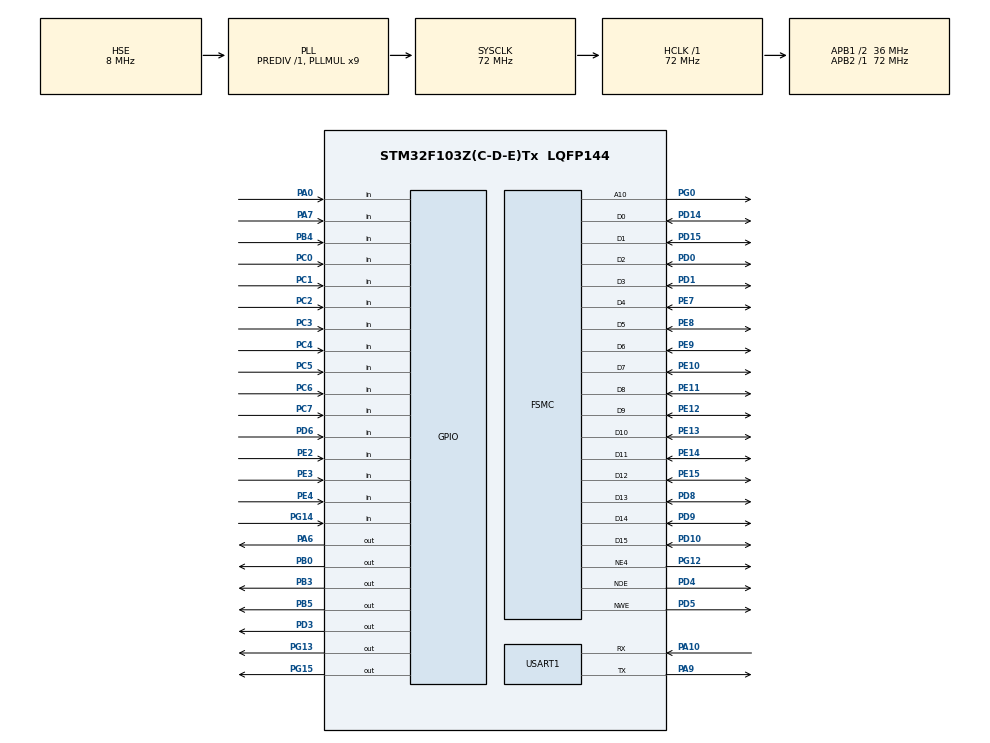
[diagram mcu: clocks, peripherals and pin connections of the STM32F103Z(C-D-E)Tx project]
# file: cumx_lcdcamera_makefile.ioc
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Dma.Request0=USART1_RX
Dma.Request1=USART1_TX
Dma.USART1_RX.0.Direction=DMA_PERIPH_TO_MEMORY
Dma.USART1_RX.0.Instance=DMA1_Channel5
Dma.USART1_RX.0.MemDataAlignment=DMA_MDATAALIGN_BYTE
Dma.USART1_RX.0.MemInc=DMA_MINC_ENABLE
Dma.USART1_RX.0.Mode=DMA_NORMAL
Dma.USART1_RX.0.PeriphDataAlignment=DMA_PDATAALIGN_BYTE
Dma.USART1_RX.0.PeriphInc=DMA_PINC_DISABLE
Dma.USART1_RX.0.Priority=DMA_PRIORITY_LOW
Dma.USART1_TX.1.Direction=DMA_MEMORY_TO_PERIPH
Dma.USART1_TX.1.Instance=DMA1_Channel4
Dma.USART1_TX.1.MemDataAlignment=DMA_MDATAALIGN_BYTE
Dma.USART1_TX.1.MemInc=DMA_MINC_ENABLE
Dma.USART1_TX.1.Mode=DMA_NORMAL
Dma.USART1_TX.1.PeriphDataAlignment=DMA_PDATAALIGN_BYTE
Dma.USART1_TX.1.PeriphInc=DMA_PINC_DISABLE
Dma.USART1_TX.1.Priority=DMA_PRIORITY_LOW
FREERTOS.BinarySemaphores01=dma_semaphore,Dynamic,NULL
FREERTOS.Tasks01=os_demorun,24,128,demorunTask,Default,NULL,Dynamic,NULL,NULL;os_supersonicTa,24,128,supersonicTask,Default,NULL,Dynamic,NULL,NULL;os_image_receiv,24,128,image_receive_start,Default,NULL,Dynamic,NULL,NULL
FSMC.AddressSetupTime1=0
FSMC.BusTurnAroundDuration1=0
FSMC.DataSetupTime1=15
FSMC.ExtendedAddressSetupTime1=0
FSMC.ExtendedBusTurnAroundDuration1=0
FSMC.ExtendedDataSetupTime1=1
FSMC.ExtendedMode1=FSMC_EXTENDED_MODE_ENABLE
Mcu.Family=STM32F1
Mcu.Name=STM32F103Z(C-D-E)Tx
Mcu.Package=LQFP144
NVIC.DMA1_Channel4_IRQn=true\:5\:0\:false\:false\:true\:true\:false\:true
NVIC.DMA1_Channel5_IRQn=true\:5\:0\:false\:false\:true\:true\:false\:true
NVIC.PriorityGroup=NVIC_PRIORITYGROUP_4
NVIC.TIM7_IRQn=true\:15\:0\:false\:false\:true\:false\:false\:true
NVIC.TimeBase=TIM7_IRQn
NVIC.TimeBaseIP=TIM7
OSC_IN.Mode=HSE-External-Oscillator
OSC_IN.Signal=RCC_OSC_IN
OSC_OUT.Mode=HSE-External-Oscillator
OSC_OUT.Signal=RCC_OSC_OUT
PA0-WKUP.GPIO_Mode=GPIO_MODE_INPUT
PA0-WKUP.GPIO_PuPd=GPIO_PULLDOWN
PA0-WKUP.Signal=GPIO_Input
PA10.Mode=Asynchronous
PA10.Signal=USART1_RX
PA6.GPIO_PuPd=GPIO_NOPULL
PA6.GPIO_Speed=GPIO_SPEED_FREQ_HIGH
PA6.Signal=GPIO_Output
PA7.GPIO_PuPd=GPIO_NOPULL
PA7.Signal=GPIO_Input
PA9.Mode=Asynchronous
PA9.Signal=USART1_TX
PB0.GPIO_PuPd=GPIO_PULLUP
PB0.GPIO_Speed=GPIO_SPEED_FREQ_HIGH
PB0.PinState=GPIO_PIN_RESET
PB0.Signal=GPIO_Output
PB3.GPIO_PuPd=GPIO_PULLUP
PB3.GPIO_Speed=GPIO_SPEED_FREQ_HIGH
PB3.Signal=GPIO_Output
PB4.GPIO_PuPd=GPIO_PULLUP
PB4.Signal=GPIO_Input
PB5.GPIO_PuPd=GPIO_PULLUP
PB5.GPIO_Speed=GPIO_SPEED_FREQ_HIGH
PB5.PinState=GPIO_PIN_RESET
PB5.Signal=GPIO_Output
PC0.GPIO_PuPd=GPIO_PULLUP
PC0.Signal=GPIO_Input
PC1.GPIO_PuPd=GPIO_PULLUP
PC1.Signal=GPIO_Input
PC14-OSC32_IN.Mode=LSE-External-Oscillator
PC14-OSC32_IN.Signal=RCC_OSC32_IN
PC15-OSC32_OUT.Mode=LSE-External-Oscillator
PC15-OSC32_OUT.Signal=RCC_OSC32_OUT
PC2.GPIO_PuPd=GPIO_PULLUP
PC2.Signal=GPIO_Input
PC3.GPIO_Mode=GPIO_MODE_INPUT
PC3.GPIO_PuPd=GPIO_PULLUP
PC3.Signal=GPIO_Input
PC4.GPIO_PuPd=GPIO_PULLUP
PC4.Signal=GPIO_Input
PC5.GPIO_PuPd=GPIO_PULLUP
PC5.Signal=GPIO_Input
PC6.GPIO_PuPd=GPIO_PULLUP
PC6.Signal=GPIO_Input
PC7.GPIO_PuPd=GPIO_PULLUP
PC7.Signal=GPIO_Input
PD0.Signal=FSMC_D2_DA2
PD1.Signal=FSMC_D3_DA3
PD10.Signal=FSMC_D15_DA15
PD14.Signal=FSMC_D0_DA0
PD15.Signal=FSMC_D1_DA1
PD3.GPIO_PuPd=GPIO_PULLUP
PD3.GPIO_Speed=GPIO_SPEED_FREQ_HIGH
PD3.Signal=GPIO_Output
PD4.Signal=FSMC_NOE
PD5.Signal=FSMC_NWE
PD6.GPIO_PuPd=GPIO_PULLUP
PD6.Signal=GPIO_Input
PD8.Signal=FSMC_D13_DA13
PD9.Signal=FSMC_D14_DA14
PE10.Signal=FSMC_D7_DA7
PE11.Signal=FSMC_D8_DA8
PE12.Signal=FSMC_D9_DA9
PE13.Signal=FSMC_D10_DA10
PE14.Signal=FSMC_D11_DA11
PE15.Signal=FSMC_D12_DA12
PE2.GPIO_PuPd=GPIO_PULLUP
PE2.Signal=GPIO_Input
PE3.GPIO_PuPd=GPIO_PULLUP
PE3.Signal=GPIO_Input
PE4.GPIO_Mode=GPIO_MODE_INPUT
PE4.GPIO_PuPd=GPIO_PULLUP
PE4.Signal=GPIO_Input
PE7.Signal=FSMC_D4_DA4
PE8.Signal=FSMC_D5_DA5
PE9.Signal=FSMC_D6_DA6
PG0.Signal=FSMC_A10
PG12.Mode=NorPsramChipSelect4_1
PG12.Signal=FSMC_NE4
PG13.GPIO_ModeDefaultOutputPP=GPIO_MODE_OUTPUT_PP
PG13.GPIO_PuPd=GPIO_PULLUP
PG13.GPIO_Speed=GPIO_SPEED_FREQ_HIGH
PG13.PinState=GPIO_PIN_RESET
PG13.Signal=GPIO_Output
PG14.GPIO_PuPd=GPIO_PULLUP
PG14.Signal=GPIO_Input
PG15.GPIO_PuPd=GPIO_PULLUP
PG15.GPIO_Speed=GPIO_SPEED_FREQ_HIGH
PG15.Signal=GPIO_Output
ProjectManager.HeapSize=0x200
ProjectManager.StackSize=0x400
ProjectManager.TargetToolchain=Makefile
RCC.AHBFreq_Value=72000000
RCC.APB1CLKDivider=RCC_HCLK_DIV2
RCC.APB1Freq_Value=36000000
RCC.APB1TimFreq_Value=72000000
RCC.APB2Freq_Value=72000000
RCC.APB2TimFreq_Value=72000000
RCC.HCLKFreq_Value=72000000
RCC.PLLMUL=RCC_PLL_MUL9
RCC.PLLSourceVirtual=RCC_PLLSOURCE_HSE
RCC.SYSCLKFreq_VALUE=72000000
RCC.SYSCLKSource=RCC_SYSCLKSOURCE_PLLCLK
RCC.USBFreq_Value=72000000
SH.FSMC_A10.0=FSMC_A10,A10_1
SH.FSMC_D0_DA0.0=FSMC_D0,16b-d1
SH.FSMC_D10_DA10.0=FSMC_D10,16b-d1
SH.FSMC_D11_DA11.0=FSMC_D11,16b-d1
SH.FSMC_D12_DA12.0=FSMC_D12,16b-d1
SH.FSMC_D13_DA13.0=FSMC_D13,16b-d1
SH.FSMC_D14_DA14.0=FSMC_D14,16b-d1
SH.FSMC_D15_DA15.0=FSMC_D15,16b-d1
SH.FSMC_D1_DA1.0=FSMC_D1,16b-d1
SH.FSMC_D2_DA2.0=FSMC_D2,16b-d1
SH.FSMC_D3_DA3.0=FSMC_D3,16b-d1
SH.FSMC_D4_DA4.0=FSMC_D4,16b-d1
SH.FSMC_D5_DA5.0=FSMC_D5,16b-d1
SH.FSMC_D6_DA6.0=FSMC_D6,16b-d1
SH.FSMC_D7_DA7.0=FSMC_D7,16b-d1
SH.FSMC_D8_DA8.0=FSMC_D8,16b-d1
SH.FSMC_D9_DA9.0=FSMC_D9,16b-d1
SH.FSMC_NOE.0=FSMC_NOE,Lcd1
SH.FSMC_NWE.0=FSMC_NWE,Lcd1
TIM6.Prescaler=72-1
USART1.VirtualMode=VM_ASYNC
VP_FREERTOS_VS_CMSIS_V2.Mode=CMSIS_V2
VP_SYS_VS_ND.Mode=No_Debug
VP_SYS_VS_tim7.Mode=TIM7
VP_TIM6_VS_ClockSourceINT.Mode=Enable_Timer
board=custom

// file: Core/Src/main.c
/* USER CODE BEGIN Header */
/**
 ******************************************************************************
 * @file           : main.c
 * @brief          : Main program body
 ******************************************************************************
 * @attention
 *
 * <h2><center>&copy; Copyright (c) 2024 STMicroelectronics.
 * All rights reserved.</center></h2>
 *
 * This software component is licensed by ST under BSD 3-Clause license,
 * the "License"; You may not use this file except in compliance with the
 * License. You may obtain a copy of the License at:
 *                        opensource.org/licenses/BSD-3-Clause
 *
 ******************************************************************************
 */
/* USER CODE END Header */
#include "cmsis_os.h"
#include "dma.h"
#include "fsmc.h"
#include "gpio.h"
#include "main.h"
#include "tim.h"
#include "usart.h"

/* USER CODE BEGIN Includes */
#include <stdio.h>
#include <string.h>

#include "camera.h"
#include "delay.h"
#include "key.h"
#include "lcd.h"
#include "malloc.h"
#include "supersonic.h"
#include "utils.h"

/* USER CODE END Includes */

void SystemClock_Config(void);
void MX_FREERTOS_Init(void);

/* USER CODE BEGIN 0 */
void show_mesg(void)
{
    LCD_Show_String(10, 10, 220, 32, 32, "STM32", RED);
    LCD_Show_String(10, 47, 220, 24, 24, "ATK-MC2640", RED);
    LCD_Show_String(10, 76, 220, 16, 16, "ATOM@ALIENTEK", RED);

    printf("\n");
    printf("********************************\r\n");
    printf("STM32\r\n");
    printf("ATK-MC2640\r\n");
    printf("ATOM@ALIENTEK\r\n");
    printf("********************************\r\n");
    printf("\r\n");
}

/* USER CODE END 0 */

int main(void)
{
    /* USER CODE BEGIN 1 */
    uint32_t cnt = 0;

    /* USER CODE END 1 */

    /* MCU Configuration--------------------------------------------------------*/

    /* Reset of all peripherals, Initializes the Flash interface and the Systick. */
    HAL_Init();

    /* Configure the system clock */
    SystemClock_Config();

    /* Initialize all configured peripherals */
    MX_GPIO_Init();
    MX_FSMC_Init();
    MX_DMA_Init();
    MX_USART1_UART_Init();
    MX_TIM6_Init();
    /* USER CODE BEGIN 2 */
    LCD_Init();
    tim6_delay_init();
    // demorunTask(NULL);
    // supersonicTask(NULL);

    /* USER CODE END 2 */

    /* Init scheduler */
    osKernelInitialize(); /* Call init function for freertos objects (in freertos.c) */
    MX_FREERTOS_Init();
    /* Start scheduler */
    osKernelStart();

    /* We should never get here as control is now taken by the scheduler */
    /* Infinite loop */
    while(1)
    {

    }
}

void SystemClock_Config(void)
{
    RCC_OscInitTypeDef RCC_OscInitStruct = {0};
    RCC_ClkInitTypeDef RCC_ClkInitStruct = {0};

    /** Initializes the RCC Oscillators according to the specified parameters
     * in the RCC_OscInitTypeDef structure.
     */
    RCC_OscInitStruct.OscillatorType = RCC_OSCILLATORTYPE_HSE;
    RCC_OscInitStruct.HSEState       = RCC_HSE_ON;
    RCC_OscInitStruct.HSEPredivValue = RCC_HSE_PREDIV_DIV1;
    RCC_OscInitStruct.HSIState       = RCC_HSI_ON;
    RCC_OscInitStruct.PLL.PLLState   = RCC_PLL_ON;
    RCC_OscInitStruct.PLL.PLLSource  = RCC_PLLSOURCE_HSE;
    RCC_OscInitStruct.PLL.PLLMUL     = RCC_PLL_MUL9;
    if(HAL_RCC_OscConfig(&RCC_OscInitStruct) != HAL_OK)
    {
        Error_Handler();
    }
    /** Initializes the CPU, AHB and APB buses clocks
     */
    RCC_ClkInitStruct.ClockType      = RCC_CLOCKTYPE_HCLK | RCC_CLOCKTYPE_SYSCLK | RCC_CLOCKTYPE_PCLK1 | RCC_CLOCKTYPE_PCLK2;
    RCC_ClkInitStruct.SYSCLKSource   = RCC_SYSCLKSOURCE_PLLCLK;
    RCC_ClkInitStruct.AHBCLKDivider  = RCC_SYSCLK_DIV1;
    RCC_ClkInitStruct.APB1CLKDivider = RCC_HCLK_DIV2;
    RCC_ClkInitStruct.APB2CLKDivider = RCC_HCLK_DIV1;

    if(HAL_RCC_ClockConfig(&RCC_ClkInitStruct, FLASH_LATENCY_2) != HAL_OK)
    {
        Error_Handler();
    }
}

void HAL_TIM_PeriodElapsedCallback(TIM_HandleTypeDef *htim)
{
    if(htim->Instance == TIM7)
    {
        HAL_IncTick();
    }
}

void Error_Handler(void)
{
    __disable_irq();
    while(1)
    {
    }
}

/************************ (C) COPYRIGHT STMicroelectronics *****END OF FILE****/

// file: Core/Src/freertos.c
/* USER CODE BEGIN Header */
/* USER CODE END Header */

#include "FreeRTOS.h"
#include "cmsis_os.h"
#include "main.h"
#include "task.h"

/* USER CODE BEGIN Includes */
#include <stdio.h>
#include "lcd.h"
#include "camera.h"
#include "delay.h"
#include "supersonic.h"
#include "utils.h"

/* USER CODE END Includes */

/* Definitions for os_demorun */
osThreadId_t         os_demorunHandle;
const osThreadAttr_t os_demorun_attributes = {
    .name       = "os_demorun",
    .stack_size = 128 * 4,
    .priority   = (osPriority_t)osPriorityNormal,
};
/* Definitions for os_supersonicTa */
osThreadId_t         os_supersonicTaHandle;
const osThreadAttr_t os_supersonicTa_attributes = {
    .name       = "os_supersonicTa",
    .stack_size = 128 * 4,
    .priority   = (osPriority_t)osPriorityNormal,
};
/* Definitions for os_image_receiv */
osThreadId_t         os_image_receivHandle;
const osThreadAttr_t os_image_receiv_attributes = {
    .name       = "os_image_receiv",
    .stack_size = 128 * 4,
    .priority   = (osPriority_t)osPriorityNormal,
};
/* Definitions for dma_semaphore */
osSemaphoreId_t         dma_semaphoreHandle;
const osSemaphoreAttr_t dma_semaphore_attributes = {.name = "dma_semaphore"};

void supersonicTask(void *argument);
void image_receive_start(void *argument);

void MX_FREERTOS_Init(void); /* (MISRA C 2004 rule 8.1) */

void MX_FREERTOS_Init(void)
{

    /* Create the semaphores(s) */
    /* creation of dma_semaphore */
    dma_semaphoreHandle = osSemaphoreNew(1, 1, &dma_semaphore_attributes);

    /* Create the thread(s) */
    /* creation of os_demorun */
    //os_demorunHandle = osThreadNew(demorunTask, NULL, &os_demorun_attributes);

    /* creation of os_supersonicTa */
    os_supersonicTaHandle = osThreadNew(supersonicTask, NULL, &os_supersonicTa_attributes);

    /* creation of os_image_receiv */
    os_image_receivHandle = osThreadNew(image_receive_start, NULL, &os_image_receiv_attributes);

}

void supersonicTask(void *argument)
{
    /* USER CODE BEGIN supersonicTask */
    /* Infinite loop */
    for(;;)
    {
        printf("measurement distancde is %d mm\r\n", supersonic_run());
        tim6_delay_ms(500);
        osDelay(1);
    }
    /* USER CODE END supersonicTask */
}

void image_receive_start(void *argument)
{
    /* USER CODE BEGIN image_receive_start */
    image_receive_init(line_mode);

    /* Infinite loop */
    for(;;)
    {
        image_receive_run();
        osDelay(1);
    }
    /* USER CODE END image_receive_start */
}

/************************ (C) COPYRIGHT STMicroelectronics *****END OF FILE****/
